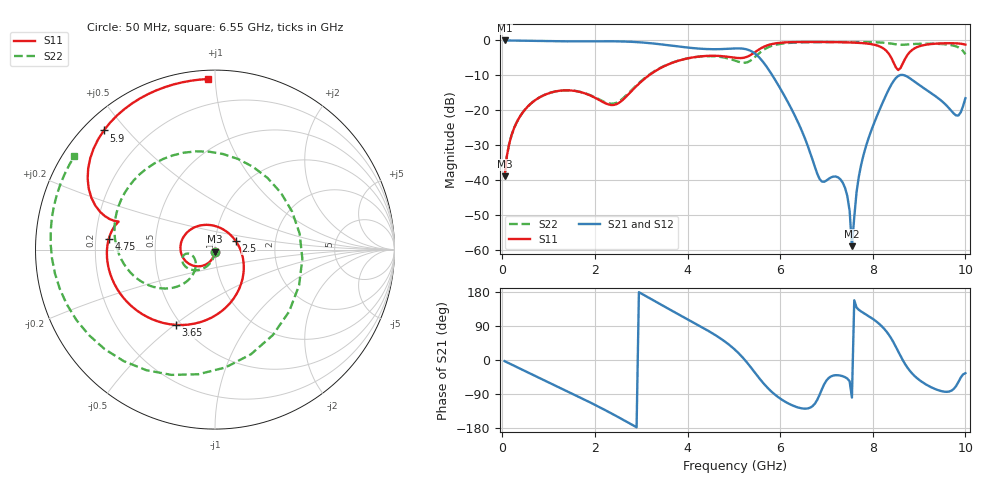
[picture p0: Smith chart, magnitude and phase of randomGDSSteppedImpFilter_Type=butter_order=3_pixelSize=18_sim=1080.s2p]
! freq	dB(S11)	phase(S11)	dB(S12)	phase(S12)
!  dB(S21)	phase(S21)	dB(S22)	phase(S22)
!S-par simulation data
#  GHz  S  DB  R 50
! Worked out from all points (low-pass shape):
!   200 points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, 50 MHz to 10 GHz, reference 50 ohm
!   highest |S21| = -0.01 dB at 50 MHz (marker M1); lowest = -58.9 dB at 7.55 GHz (marker M2)
!   |S21| within 3 dB of the highest: start of sweep to 5.366 GHz
!   lowest |S11| = -38.9 dB at 50 MHz (marker M3), VSWR 1.02, Z = 49.9 - j1.14 ohm
!   |S11| at or under -10 dB: start of sweep to 3.167 GHz
!   |S22| runs from -38.9 to -0.5 dB; largest |S21 - S12| = 0
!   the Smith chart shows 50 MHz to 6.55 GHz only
!   S11 on the Smith chart (normalised r, x): 50 MHz: 1.00, -0.02; 2.5 GHz: 1.26, +0.12; 3.65 GHz: 0.47, -0.51; 4.75 GHz: 0.25, +0.04; 5.9 GHz: 0.06, +0.43; 6.55 GHz: 0.05, +0.96
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0.05  -38.88 -92.0  -0.01 -3.0  -0.01 -3.0  -38.87 -91.2
0.55  -18.93 -127.3  -0.10 -32.7  -0.10 -32.7  -18.92 -118.8
1.75  -15.01 142.5  -0.26 -103.0  -0.26 -103.0  -14.95 -169.3
2.5  -18.03 21.8  -0.27 -150.4  -0.27 -150.4  -17.60 -144.2
3.4  -8.03 -97.3  -1.08 147.9  -1.08 147.9  -7.94 -148.8
3.65  -6.51 -117.4  -1.49 131.0  -1.49 131.0  -6.45 -162.2
4.75  -4.50 174.5  -2.47 53.6  -2.47 53.6  -4.80 114.0
5.05  -4.99 164.7  -2.29 24.2  -2.29 24.2  -5.89 65.5
5.3  -4.60 164.0  -2.64 -9.0  -2.64 -9.0  -6.21 -6.0
5.55  -2.53 157.2  -4.90 -48.3  -4.90 -48.3  -3.62 -84.9
5.9  -0.84 133.0  -11.48 -92.6  -11.48 -92.6  -1.25 -153.1
6.55  -0.43 92.5  -28.56 -128.4  -28.56 -128.4  -0.53 146.4
6.7  -0.43 83.9  -34.18 -121.7  -34.18 -121.7  -0.50 136.8
7.35  -0.52 46.3  -40.68 -42.7  -40.68 -42.7  -0.46 100.4
7.55  -0.60 33.5  -58.90 -99.3  -58.90 -99.3  -0.46 90.0
7.75  -0.74 19.2  -35.54 128.0  -35.54 128.0  -0.47 79.7
8.1  -1.48 -15.0  -21.30 99.4  -21.30 99.4  -0.55 61.3
8.35  -3.88 -63.8  -13.92 66.1  -13.92 66.1  -0.81 47.8
8.55  -8.48 -167.8  -10.16 22.5  -10.16 22.5  -1.21 39.0
8.8  -3.32 74.6  -10.82 -28.4  -10.82 -28.4  -1.11 29.3
9.25  -1.05 15.4  -14.99 -71.2  -14.99 -71.2  -0.92 5.2
10  -1.19 -30.8  -16.54 -34.9  -16.54 -34.9  -3.98 -50.1
